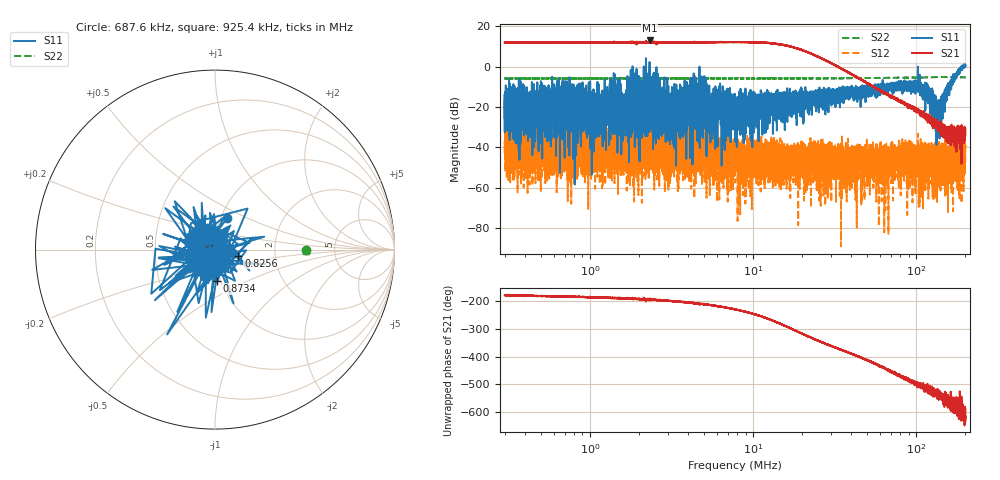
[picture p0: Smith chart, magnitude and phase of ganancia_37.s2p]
# Hz S DB R 50
! CMT, M5065, 19127446, 24.2.4/2
! Date: 11/1/2024 4:36:46 PM
! Data: Format (Calibration Info)
! Freq	S11:dB/Ang(F2)	S21:dB/Ang(F2)	S12:dB/Ang(F2)	S22:dB/Ang(F2)
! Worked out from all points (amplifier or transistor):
!   9000 points, 300 kHz to 200 MHz, reference 50 ohm
!   highest |S21| = 12.9 dB at 2.32 MHz (marker M1)
!   |S21| within 3 dB of that: start of sweep to 16.82 MHz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
!   unconditionally stable (mu >= 1): start of sweep to 1.824 MHz; 2.557 MHz to 4.691 MHz; 4.695 MHz to 190 MHz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
!   at 886.8 kHz: K = 9.10, MAG = 13.1 dB, |S12| = -39.6 dB
!   at 7.749 MHz: K = 9.98, MAG = 13.5 dB, |S12| = -40.8 dB
!   at 200 MHz: K = -28.35, MSG = 4.2 dB, |S12| = -39.1 dB
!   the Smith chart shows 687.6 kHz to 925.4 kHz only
!   S11 on the Smith chart (normalised r, x): 687.6 kHz: 1.07, +0.39; 825.6 kHz: 1.30, -0.09; 873.4 kHz: 0.96, -0.35; 925.4 kHz: 0.82, -0.03
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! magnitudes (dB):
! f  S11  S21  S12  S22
! 300 kHz  -25.5  11.9  -42.9  -5.9
! 687.6 kHz  -14.5  11.9  -42.3  -5.9
! 825.6 kHz  -17.4  11.8  -38.2  -5.8
! 873.4 kHz  -15.1  11.9  -34.6  -5.8
! 886.8 kHz  -28.8  11.8  -39.6  -5.9
! 925.4 kHz  -19.8  11.9  -39.8  -5.9
! 2.32 MHz  2.3  12.9  -43.4  -5.9
! 2.621 MHz  -16.5  12.0  -44.3  -5.9
! 2.949 MHz  -13.5  12.0  -46.2  -5.9
! 4.606 MHz  -17.3  11.8  -38.0  -6.0
! 5.578 MHz  -17.7  12.1  -38.0  -5.9
! 7.749 MHz  -20.5  12.2  -40.8  -5.9
! 8.87 MHz  -20.4  12.1  -47.4  -5.8
! 9.466 MHz  -22.6  12.1  -36.8  -5.9
! 22.91 MHz  -13.0  6.4  -40.3  -5.9
! 67.71 MHz  -10.0  -14.3  -48.7  -5.6
! 103.6 MHz  -10.3  -21.6  -47.0  -5.4
! 116.7 MHz  -11.9  -25.3  -45.3  -5.4
! 137.3 MHz  -25.7  -27.9  -53.1  -5.2
! 167.4 MHz  -6.5  -31.4  -40.9  -5.2
! 188.6 MHz  -1.4  -31.2  -52.2  -5.3
! 200 MHz  0.1  -30.7  -39.1  -5.3
